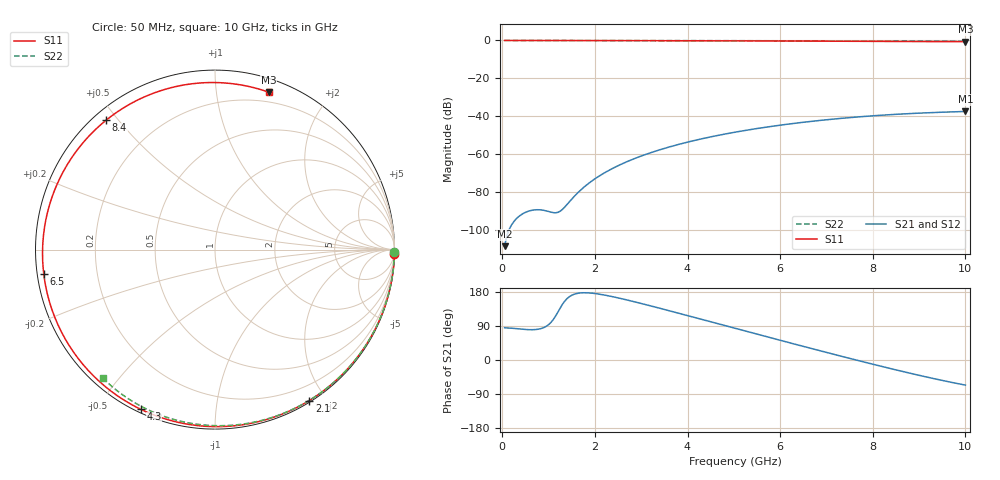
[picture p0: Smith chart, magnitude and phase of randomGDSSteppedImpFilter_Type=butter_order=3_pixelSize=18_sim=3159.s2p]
! freq	dB(S11)	phase(S11)	dB(S12)	phase(S12)
!  dB(S21)	phase(S21)	dB(S22)	phase(S22)
!S-par simulation data
#  GHz  S  DB  R 50
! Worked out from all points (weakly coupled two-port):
!   200 points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, 50 MHz to 10 GHz, reference 50 ohm
!   highest |S21| = -37.54 dB at 10 GHz (marker M1); lowest = -108.8 dB at 50 MHz (marker M2)
!   lowest |S11| = -0.7 dB at 10 GHz (marker M3), VSWR 26.28, Z = 5.61 + j69.6 ohm
!   |S11| at or under -10 dB: nowhere
!   |S22| runs from -0.4 to 0.0 dB; largest |S21 - S12| = 0
!   S11 on the Smith chart (normalised r, x): 50 MHz: 0, -81; 2.1 GHz: 0.02, -1.80; 4.3 GHz: 0.01, -0.64; 6.5 GHz: 0.02, -0.07; 8.4 GHz: 0.04, +0.46; 10 GHz: 0.11, +1.39
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0.05  -0.00 -1.4  -108.77 85.2  -108.77 85.2  -0.00 -0.8
0.8  -0.03 -22.5  -89.53 81.9  -89.53 81.9  -0.01 -12.1
1.65  -0.06 -45.9  -80.07 176.4  -80.07 176.4  -0.03 -24.7
1.75  -0.06 -48.6  -77.85 177.4  -77.85 177.4  -0.03 -26.1
2.1  -0.07 -58.0  -71.57 173.7  -71.57 173.7  -0.04 -31.2
2.7  -0.09 -73.9  -64.01 158.2  -64.01 158.2  -0.05 -39.9
3.4  -0.12 -92.0  -57.81 136.6  -57.81 136.6  -0.07 -49.8
3.85  -0.14 -103.5  -54.69 122.1  -54.69 122.1  -0.08 -56.0
4.3  -0.16 -114.9  -52.04 107.4  -52.04 107.4  -0.09 -62.1
5.05  -0.21 -133.9  -48.39 82.9  -48.39 82.9  -0.11 -72.0
5.8  -0.26 -153.2  -45.48 58.5  -45.48 58.5  -0.14 -81.7
6.5  -0.32 -172.0  -43.26 35.9  -43.26 35.9  -0.17 -90.4
6.7  -0.34 -177.6  -42.71 29.5  -42.71 29.5  -0.18 -92.8
7.15  -0.38 169.5  -41.57 15.3  -41.57 15.3  -0.20 -98.3
7.55  -0.43 157.5  -40.69 2.7  -40.69 2.7  -0.23 -103.0
7.95  -0.47 145.0  -39.93 -9.6  -39.93 -9.6  -0.26 -107.7
8.35  -0.51 131.8  -39.28 -21.6  -39.28 -21.6  -0.29 -112.4
8.4  -0.52 130.1  -39.20 -23.1  -39.20 -23.1  -0.29 -113.0
8.85  -0.56 114.4  -38.60 -36.2  -38.60 -36.2  -0.33 -118.1
9.25  -0.60 99.8  -38.17 -47.3  -38.17 -47.3  -0.37 -122.7
9.65  -0.63 84.7  -37.81 -57.8  -37.81 -57.8  -0.41 -127.2
10  -0.66 71.1  -37.54 -66.2  -37.54 -66.2  -0.44 -131.1
